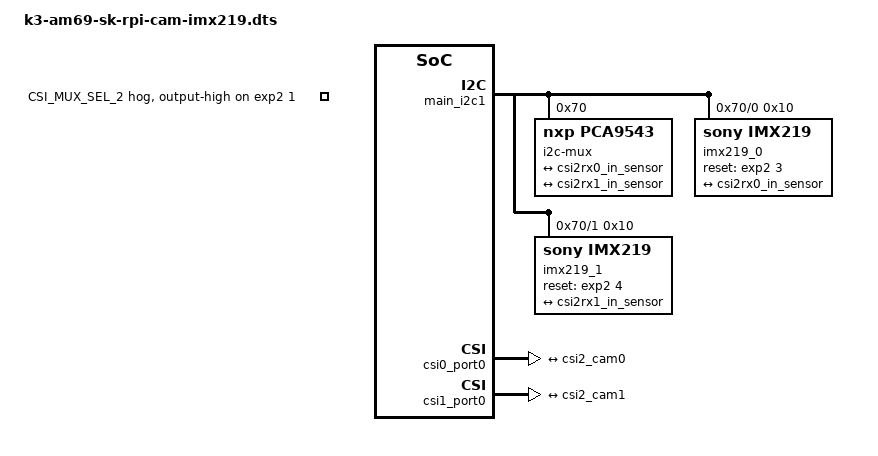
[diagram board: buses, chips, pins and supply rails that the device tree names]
// SPDX-License-Identifier: GPL-2.0
/**
 * DT Overlay for RPi Camera V2.1 (Sony IMX219) interfaced with CSI2 on AM69-SK board.
 *
 * Copyright (C) 2022 Texas Instruments Incorporated - https://www.ti.com/
 *
 * Schematics: https://datasheets.raspberrypi.com/camera/camera-v2-schematics.pdf
 */

/dts-v1/;
/plugin/;

#include <dt-bindings/gpio/gpio.h>
#include <dt-bindings/interrupt-controller/irq.h>
#include <dt-bindings/pinctrl/k3.h>

/ {
	fragment@101 {
		target-path = "/";

		__overlay__ {
			clk_imx219_fixed: imx219-xclk {
				compatible = "fixed-clock";
				#clock-cells = <0>;
				clock-frequency = <24000000>;
			};
		};
	};
};

&exp2 {
	p01-hog{
		/* P01 - CSI_MUX_SEL_2 */
		gpio-hog;
		gpios = <1 GPIO_ACTIVE_HIGH>;
		output-high;
		line-name = "CSI_MUX_SEL_2";
	};
};

&main_i2c1 {
	#address-cells = <1>;
	#size-cells = <0>;

	i2c-mux@70 {
		compatible = "nxp,pca9543";
		#address-cells = <1>;
		#size-cells = <0>;
		reg = <0x70>;

		i2c-alias-pool = /bits/ 16 <0x10 0x11>;

		/* CAM0 I2C */
		i2c@0 {
			#address-cells = <1>;
			#size-cells = <0>;
			reg = <0>;

			imx219_0: sensor@10 {
				compatible = "sony,imx219";
				reg = <0x10>;

				clocks = <&clk_imx219_fixed>;
				clock-names = "xclk";

				reset-gpios = <&exp2 3 GPIO_ACTIVE_HIGH>;

				port {
					csi2_cam0: endpoint {
						remote-endpoint = <&csi2rx0_in_sensor>;
						link-frequencies = /bits/ 64 <456000000>;
						clock-lanes = <0>;
						data-lanes = <1 2>;
					};
				};
			};
		};

		/* CAM1 I2C */
		i2c@1 {
			#address-cells = <1>;
			#size-cells = <0>;
			reg = <1>;

			imx219_1: sensor@10 {
				compatible = "sony,imx219";
				reg = <0x10>;

				clocks = <&clk_imx219_fixed>;
				clock-names = "xclk";

				reset-gpios = <&exp2 4 GPIO_ACTIVE_HIGH>;

				port {
					csi2_cam1: endpoint {
						remote-endpoint = <&csi2rx1_in_sensor>;
						link-frequencies = /bits/ 64 <456000000>;
						clock-lanes = <0>;
						data-lanes = <1 2>;
					};
				};
			};
		};
	};
};

&csi0_port0 {
	status = "okay";
	csi2rx0_in_sensor: endpoint {
		remote-endpoint = <&csi2_cam0>;
		bus-type = <4>; /* CSI2 DPHY. */
		clock-lanes = <0>;
		data-lanes = <1 2>;
	};
};

&csi1_port0 {
	status = "okay";
	csi2rx1_in_sensor: endpoint {
		remote-endpoint = <&csi2_cam1>;
		bus-type = <4>; /* CSI2 DPHY. */
		clock-lanes = <0>;
		data-lanes = <1 2>;
	};
};
